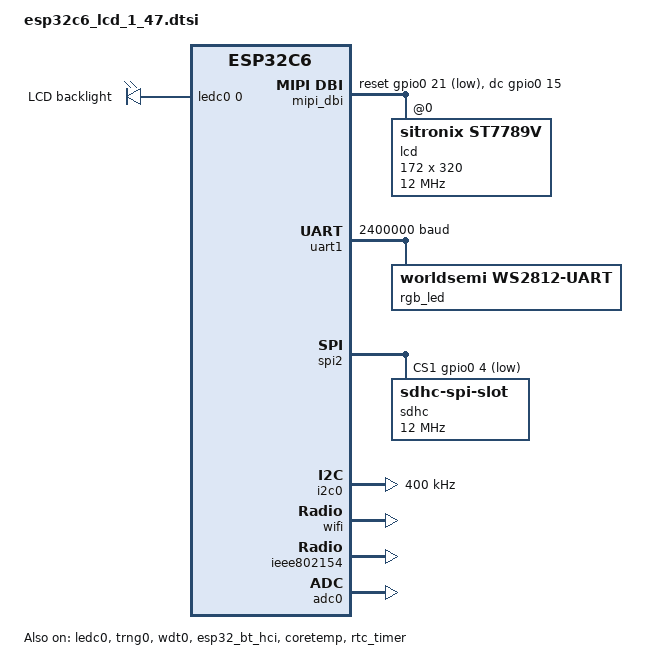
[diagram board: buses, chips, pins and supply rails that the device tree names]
/*
 * Copyright (c) 2026 Embeint Holdings Pty Ltd
 * SPDX-License-Identifier: FSL-1.1-ALv2
 */

#include <zephyr/dt-bindings/led/led.h>
#include <zephyr/dt-bindings/mipi_dbi/mipi_dbi.h>
#include <zephyr/dt-bindings/pwm/pwm.h>
#include <boards/waveshare/esp32c6_lcd_1_47-pinctrl.dtsi>

/ {
	chosen {
		zephyr,display = &lcd;
		zephyr,led-strip = &rgb_led;
		zephyr,wifi = &wifi;
		zephyr,ieee802154 = &ieee802154;
	};

	aliases {
		/delete-property/ led0;
		led-strip = &rgb_led;
		pwm-led0 = &lcd_backlight;
		display-backlight = &lcd_backlight;
		watchdog0 = &wdt0;
		i2c-0 = &i2c0;
	};

	/delete-node/ leds;

	backlight: backlight {
		compatible = "pwm-leds";
		lcd_backlight: lcd_backlight {
			label = "LCD backlight";
			pwms = <&ledc0 0 PWM_USEC(200) PWM_POLARITY_NORMAL>;
		};
	};

	mipi_dbi {
		compatible = "zephyr,mipi-dbi-spi";
		spi-dev = <&spi2>;
		dc-gpios = <&gpio0 15 GPIO_ACTIVE_HIGH>;
		reset-gpios = <&gpio0 21 GPIO_ACTIVE_LOW>;
		write-only;
		#address-cells = <1>;
		#size-cells = <0>;

		lcd: lcd@0 {
			compatible = "sitronix,st7789v";
			reg = <0>;
			mipi-max-frequency = <12000000>;
			mipi-mode = "MIPI_DBI_MODE_SPI_4WIRE";
			width = <172>;
			height = <320>;
			x-offset = <34>;
			y-offset = <0>;
			vcom = <0x1a>;
			gctrl = <0x75>;
			vrhs = <0x13>;
			vdvs = <0x20>;
			/* Match the vendor's final mirror_x=true, mirror_y=false setting. */
			mdac = <0x40>;
			lcm = <0x80>;
			colmod = <0x55>;
			gamma = <0x0f>;
			porch-param = [0c 0c 00 33 33];
			cmd2en-param = [01 ff];
			pwctrl1-param = [a4 a1];
			pvgam-param = [d0 0d 14 0d 0d 09 38 44 4e 3a 17 18 2f 30];
			nvgam-param = [d0 09 0f 08 07 14 37 44 4d 38 15 16 2c 2e];
			ram-param = [00 e8];
			rgb-param = [cd 08 14];
		};
	};
};

/* UART1 generates WS2812 timing without occupying the shared LCD/SD SPI bus. */
&uart1 {
	status = "okay";
	current-speed = <2400000>;
	data-bits = <7>;
	stop-bits = "1";
	tx-invert;
	pinctrl-0 = <&uart1_rgb>;
	pinctrl-names = "default";
	dmas = <&dma 1>, <&dma 0>;
	dma-names = "tx", "rx";

	rgb_led: rgb_led {
		compatible = "worldsemi,ws2812-uart";
		chain-length = <1>;
		color-mapping = <LED_COLOR_ID_GREEN LED_COLOR_ID_RED LED_COLOR_ID_BLUE>;
		one-symbol = <6>;
		zero-symbol = <4>;
		bits-per-symbol = <3>;
		reset-delay = <280>;
	};
};

&spi2 {
	status = "okay";
	pinctrl-0 = <&spi2_default>;
	pinctrl-names = "default";
	cs-gpios = <&gpio0 14 GPIO_ACTIVE_LOW>, <&gpio0 4 GPIO_ACTIVE_LOW>;
	#address-cells = <1>;
	#size-cells = <0>;

	sdhc: sdhc@1 {
		compatible = "zephyr,sdhc-spi-slot";
		reg = <1>;
		spi-max-frequency = <12000000>;
		status = "okay";

		mmc {
			compatible = "zephyr,sdmmc-disk";
			disk-name = "SD";
			status = "okay";
		};
	};
};

&ledc0 {
	status = "okay";
	/* The backlight must continue its duty cycle during CPU light sleep. */
	sleep-keep-alive;
	pinctrl-0 = <&ledc0_default>;
	pinctrl-names = "default";
	#address-cells = <1>;
	#size-cells = <0>;
	channel@0 {
		reg = <0>;
		timer = <0>;
	};
};

/* Optional external I2C devices on the exposed GPIO0/1 header pins. */
&i2c0 {
	clock-frequency = <I2C_BITRATE_FAST>;
	pinctrl-0 = <&i2c0_default>;
	pinctrl-names = "default";
};

&dma {
	status = "okay";
};

&trng0 {
	status = "okay";
};

&wdt0 {
	status = "okay";
};

&wifi {
	status = "okay";
};

&esp32_bt_hci {
	status = "okay";
};

&ieee802154 {
	status = "okay";
};

&adc0 {
	status = "okay";
};

&coretemp {
	status = "okay";
};

&rtc_timer {
	status = "okay";
	wakeup-source;
};
